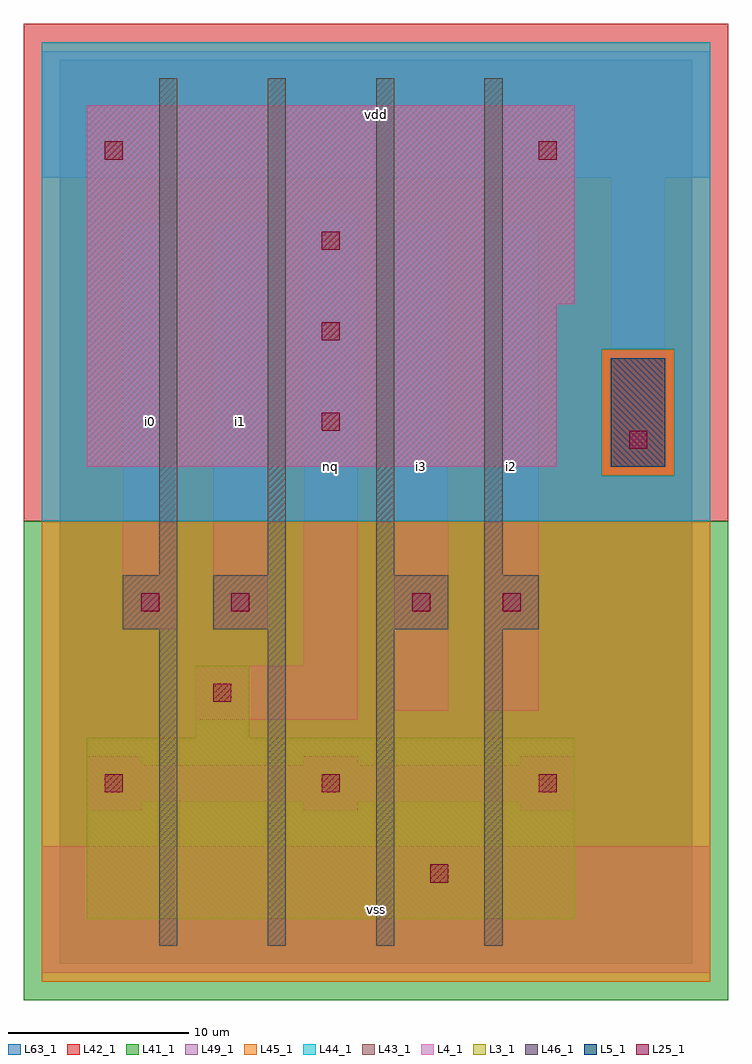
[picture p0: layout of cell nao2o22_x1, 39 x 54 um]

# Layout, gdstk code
import gdstk
lib = gdstk.Library(unit=1e-6, precision=1e-09)
def R(c, l, rs):  # rectangles x0, y0, x1, y1
    for r in rs: c.add(gdstk.rectangle(r[:2], r[2:], *l))
def A(c, l, x, y, w, h, nx, ny, dx, dy):  # array of equal rectangles
    R(c, l, [(x+i*dx, y+j*dy, x+i*dx+w, y+j*dy+h) for i in range(nx) for j in range(ny)])
L3_1 = (3, 1)
L4_1 = (4, 1)
L5_1 = (5, 1)
L25_1 = (25, 1)
L41_1 = (41, 1)
L42_1 = (42, 1)
L43_1 = (43, 1)
L44_1 = (44, 1)
L45_1 = (45, 1)
L46_1 = (46, 1)
L49_1 = (49, 1)
L63_1 = (63, 1)

nao2o22_x1 = lib.new_cell('nao2o22_x1')
R(nao2o22_x1, L3_1, [(1.5,2.5,28.5,12.5), (7.5,12.5,10.5,16.5)])
R(nao2o22_x1, L4_1, [(1.5,27.5,27.5,36.5), (1.5,36.5,28.5,47.5)])
R(nao2o22_x1, L5_1, [(30.5,27.5,33.5,33.5)])
A(nao2o22_x1, L25_1, 2.5, 9.5, 1, 1, 3, 1, 12, 0)
A(nao2o22_x1, L25_1, 14.5, 29.5, 1, 1, 1, 3, 0, 5)
R(nao2o22_x1, L25_1, [(20.5,4.5,21.5,5.5), (8.5,14.5,9.5,15.5), (4.5,19.5,5.5,20.5), (9.5,19.5,10.5,20.5), (19.5,19.5,20.5,20.5), (24.5,19.5,25.5,20.5), (31.5,28.5,32.5,29.5), (2.5,44.5,3.5,45.5), (26.5,44.5,27.5,45.5)])
R(nao2o22_x1, L41_1, [(-2,-2,37,24.5)])
R(nao2o22_x1, L42_1, [(-2,24.5,37,52)])
R(nao2o22_x1, L43_1, [(1.5,2.5,28.5,12.5), (7.5,12.5,10.5,16.5), (1.5,27.5,27.5,36.5), (30.5,27.5,33.5,33.5), (1.5,36.5,28.5,47.5)])
R(nao2o22_x1, L44_1, [(-1,24.5,36,27), (-1,27,30,34), (34,27,36,34), (-1,34,36,51)])
R(nao2o22_x1, L45_1, [(-1,-1,36,24.5), (30,27,34,34)])
A(nao2o22_x1, L46_1, 5.5, 1, 1, 17.5, 4, 1, 6, 0)
A(nao2o22_x1, L46_1, 5.5, 21.5, 1, 27.5, 4, 1, 6, 0)
R(nao2o22_x1, L46_1, [(3.5,18.5,6.5,21.5), (8.5,18.5,12.5,21.5), (17.5,18.5,21.5,21.5), (23.5,18.5,26.5,21.5)])
A(nao2o22_x1, L49_1, 1.5, 8.5, 3, 0.5, 3, 2, 12, 2.5)
R(nao2o22_x1, L49_1, [(-1,-0.5,36,6.5), (1.5,9,28.5,11), (7.5,13.5,16.5,16.5), (18.5,14,21.5,41), (23.5,14,26.5,41), (13.5,16.5,16.5,41.5), (3.5,18.5,6.5,41), (8.5,18.5,11.5,41), (30.5,27.5,33.5,43.5), (-1,43.5,36,50.5)])
R(nao2o22_x1, L63_1, [(0,0,35,50)])
nao2o22_x1.add(gdstk.Label('i0', (5,30), layer=49, texttype=1))
nao2o22_x1.add(gdstk.Label('i0', (5,30), layer=49, texttype=1))
nao2o22_x1.add(gdstk.Label('nq', (15,27.5), layer=49, texttype=1))
nao2o22_x1.add(gdstk.Label('i1', (10,30), layer=49, texttype=1))
nao2o22_x1.add(gdstk.Label('nq', (15,27.5), layer=49, texttype=1))
nao2o22_x1.add(gdstk.Label('i1', (10,30), layer=49, texttype=1))
nao2o22_x1.add(gdstk.Label('vss', (17.5,3), layer=49, texttype=1))
nao2o22_x1.add(gdstk.Label('vss', (17.5,3), layer=49, texttype=1))
nao2o22_x1.add(gdstk.Label('i2', (25,27.5), layer=49, texttype=1))
nao2o22_x1.add(gdstk.Label('i3', (20,27.5), layer=49, texttype=1))
nao2o22_x1.add(gdstk.Label('i2', (25,27.5), layer=49, texttype=1))
nao2o22_x1.add(gdstk.Label('i3', (20,27.5), layer=49, texttype=1))
nao2o22_x1.add(gdstk.Label('vdd', (17.5,47), layer=49, texttype=1))
nao2o22_x1.add(gdstk.Label('vdd', (17.5,47), layer=49, texttype=1))

lib.write_gds('nao2o22_x1.gds')
